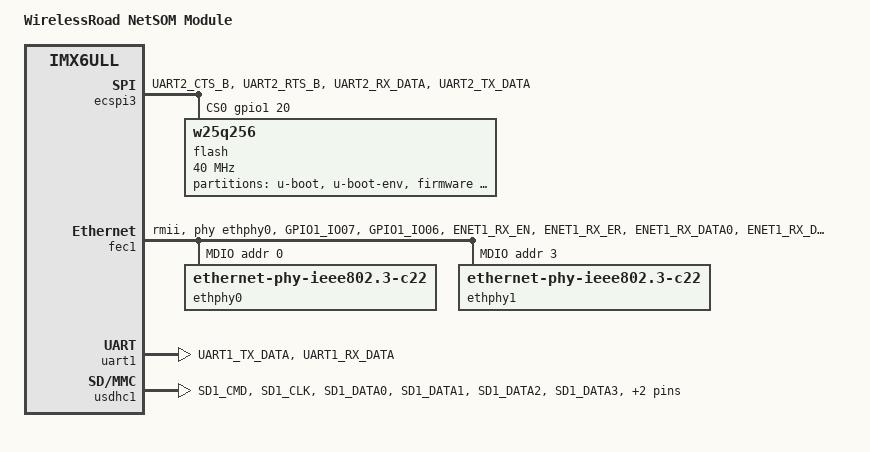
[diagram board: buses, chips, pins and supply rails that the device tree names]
// SPDX-License-Identifier: GPL-2.0+
/*
 * Copyright (C) 2023 WirelessRoad
 * Copyright (C) 2023 Sergey Moryakov <sergey@nqnet.org>
 */

/dts-v1/;
#include "imx6ull.dtsi"

/ {
	model = "WirelessRoad NetSOM Module";
	compatible = "wirelessroad,netsom", "fsl,imx6ull";

	chosen {
		stdout-path = &uart1;
	};

	// memory@80000000 {
	// 	device_type = "memory";
	// 	reg = <0x80000000 0x10000000>;
	// };


	// regulators {
	// 	compatible = "simple-bus";
	// 	#address-cells = <1>;
	// 	#size-cells = <0>;

	// };
};

// &cpu0 {
// 	arm-supply = <&reg_arm>;
// 	soc-supply = <&reg_soc>;
// };

&ecspi3 {
	fsl,spi-num-chipselects = <1>;
	cs-gpios = <&gpio1 20 0>;
	pinctrl-names = "default";
	pinctrl-0 = <&pinctrl_ecspi3_0>;
	dma-names = "rx", "tx";
	dmas = <&sdma 7 7 1>, <&sdma 8 7 2>;
	status = "okay";

	flash@0 {
		#address-cells = <1>;
		#size-cells = <1>;
		compatible = "w25q256", "jedec,nor";
		reg = <0>;
		spi-max-frequency = <40000000>;
		status = "okay";

		partition@0 {
			label = "u-boot";
			reg = <0x000000 0x0c0000>;
		};

		partition@1 {
			label = "u-boot-env";
			reg = <0x0c0000 0x040000>;
		};

		partition@2 {
			label = "firmware";
			reg = <0x100000 0x1f00000>;
		};

		partition@3 {
			label = "factory";
			reg = <0x000000 0x2000000>;
		};
	};
};

&fec1 {
	pinctrl-names = "default";
	pinctrl-0 = <&pinctrl_enet1>;
	phy-mode = "rmii";
	phy-handle = <&ethphy0>;
	phy-reset-duration = <50>;
	phy-reset-post-delay = <10>;
	phy-reset-gpios = <&gpio3 18 GPIO_ACTIVE_LOW>;
	status = "okay";
	mdio {
		#address-cells = <1>;
		#size-cells = <0>;

		ethphy0: ethernet-phy@0 {
			compatible = "ethernet-phy-ieee802.3-c22";
			reg = <0>;
			clocks = <&clks IMX6UL_CLK_ENET_REF>;
			clock-names = "rmii-ref";
		};

		ethphy1: ethernet-phy@3 {
			compatible = "ethernet-phy-ieee802.3-c22";
			reg = <3>;
			clocks = <&clks IMX6UL_CLK_ENET2_REF>;
			clock-names = "rmii-ref";
		};

	};
};

// &fec2 {
// 	pinctrl-names = "default";
// 	pinctrl-0 = <&pinctrl_enet2>;
// 	phy-mode = "rmii";
// 	phy-handle = <&ethphy1>;
// 	// phy-reset-duration = <50>;
// 	// phy-reset-post-delay = <10>;
// 	// phy-reset-gpios = <&gpio3 5 GPIO_ACTIVE_LOW>;
// 	status = "okay";
// };

&iomuxc {
	pinctrl_ecspi3_0: ecspi3grp-0 {
		fsl,pins = <
			MX6UL_PAD_UART2_CTS_B__ECSPI3_MOSI	0x110b1
			MX6UL_PAD_UART2_RTS_B__ECSPI3_MISO	0x110b1
			MX6UL_PAD_UART2_RX_DATA__ECSPI3_SCLK	0x110b1
			MX6UL_PAD_UART2_TX_DATA__GPIO1_IO20	0x10b0
		>;
	};

    pinctrl_enet1: enet1grp {
        fsl,pins = <
			MX6UL_PAD_GPIO1_IO07__ENET1_MDC         0x1b0b0
			MX6UL_PAD_GPIO1_IO06__ENET1_MDIO        0x1b0b0			
			MX6UL_PAD_ENET1_RX_EN__ENET1_RX_EN		0x1b0b0
            MX6UL_PAD_ENET1_RX_ER__ENET1_RX_ER		0x1b0b0
            MX6UL_PAD_ENET1_RX_DATA0__ENET1_RDATA00	0x1b0b0
            MX6UL_PAD_ENET1_RX_DATA1__ENET1_RDATA01	0x1b0b0
            MX6UL_PAD_ENET1_TX_EN__ENET1_TX_EN		0x1b0b0
            MX6UL_PAD_ENET1_TX_DATA0__ENET1_TDATA00	0x1b0b0
            MX6UL_PAD_ENET1_TX_DATA1__ENET1_TDATA01	0x1b0b0
            MX6UL_PAD_ENET1_TX_CLK__ENET1_REF_CLK1	0x4001b031
			
			/* pinmux setup for second phy clock */
			MX6UL_PAD_ENET2_TX_CLK__ENET2_REF_CLK2  0x4001b031
        >;
    };
	// MX6UL_PAD_ENET2_TX_CLK__ENET2_REF_CLK2  0x4001b031
	// pinctrl_enet2: enet2grp {
	// 	fsl,pins = <
	// 		MX6UL_PAD_ENET2_RX_EN__ENET2_RX_EN      0x1b0b0
	// 		MX6UL_PAD_ENET2_RX_ER__ENET2_RX_ER      0x1b0b0
	// 		MX6UL_PAD_ENET2_RX_DATA0__ENET2_RDATA00 0x1b0b0
	// 		MX6UL_PAD_ENET2_RX_DATA1__ENET2_RDATA01 0x1b0b0
	// 		MX6UL_PAD_ENET2_TX_EN__ENET2_TX_EN      0x1b0b0
	// 		MX6UL_PAD_ENET2_TX_DATA0__ENET2_TDATA00 0x1b0b0
	// 		MX6UL_PAD_ENET2_TX_DATA1__ENET2_TDATA01 0x1b0b0
			
	// 	>;
	// };

    pinctrl_uart1: uart1grp {
        fsl,pins = <
            MX6UL_PAD_UART1_TX_DATA__UART1_DCE_TX 0x1b0b1
            MX6UL_PAD_UART1_RX_DATA__UART1_DCE_RX 0x1b0b1
        >;
    };

    pinctrl_usdhc1_cd: pinctrl_usdhc1_cdgrp {
        fsl,pins = <
            MX6UL_PAD_UART1_RTS_B__GPIO1_IO19	0x17059 /* SD1 CD */
        >;
    };

	pinctrl_usdhc1: usdhc1grp {
		fsl,pins = <
			MX6UL_PAD_SD1_CMD__USDHC1_CMD     0x17059
			MX6UL_PAD_SD1_CLK__USDHC1_CLK     0x10059
			MX6UL_PAD_SD1_DATA0__USDHC1_DATA0 0x17059
			MX6UL_PAD_SD1_DATA1__USDHC1_DATA1 0x17059
			MX6UL_PAD_SD1_DATA2__USDHC1_DATA2 0x17059
			MX6UL_PAD_SD1_DATA3__USDHC1_DATA3 0x17059
		>;
	};
};

&uart1 {
	pinctrl-names = "default";
	pinctrl-0 = <&pinctrl_uart1>;
	status = "okay";
};

&usdhc1 {
	pinctrl-names = "default";
	pinctrl-0 = <&pinctrl_usdhc1 &pinctrl_usdhc1_cd>;
	cd-gpios = <&gpio1 19 GPIO_ACTIVE_LOW>;
	disable-wp;
	keep-power-in-suspend;
	no-1-8-v;
	wakeup-source;
	status = "okay";
};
